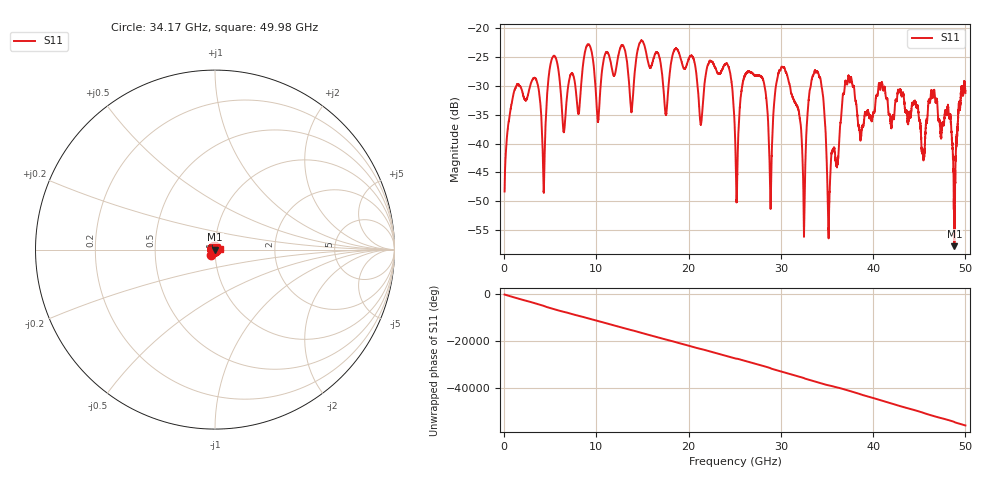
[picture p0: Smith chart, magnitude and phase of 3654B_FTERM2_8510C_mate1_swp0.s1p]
!Created with skrf (http://scikit-rf.org).
# Hz S RI R 50.0
!freq ReS11 ImS11
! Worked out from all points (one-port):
!   10001 points, 45 MHz to 50 GHz, reference 50 ohm
!   lowest |S11| = -57.8 dB at 48.81 GHz (marker M1), VSWR 1.00, Z = 50.1 - j0.0284 ohm
!   |S11| at or under -10 dB: start of sweep to end of sweep
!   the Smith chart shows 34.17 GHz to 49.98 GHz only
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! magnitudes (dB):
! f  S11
! 45 MHz  -48.3
! 1.369 GHz  -29.9
! 3.482 GHz  -28.9
! 4.281 GHz  -48.3
! 5.44 GHz  -24.8
! 6.289 GHz  -34.9
! 12.53 GHz  -23.6
! 17.53 GHz  -35.0
! 18.78 GHz  -23.7
! 21.32 GHz  -36.7
! 24.22 GHz  -26.3
! 25.02 GHz  -38.6
! 26.36 GHz  -27.6
! 28.12 GHz  -29.2
! 28.87 GHz  -50.8
! 29.82 GHz  -27.4
! 31.27 GHz  -32.0
! 32.5 GHz  -56.2
! 33.2 GHz  -30.4
! 34.11 GHz  -28.2
! 35.2 GHz  -53.2
! 37.51 GHz  -29.2
! 38.62 GHz  -39.0
! 43.76 GHz  -36.5
! 45.43 GHz  -41.7
! 46.49 GHz  -31.8
! 48.81 GHz  -57.8
! 50 GHz  -31.2
